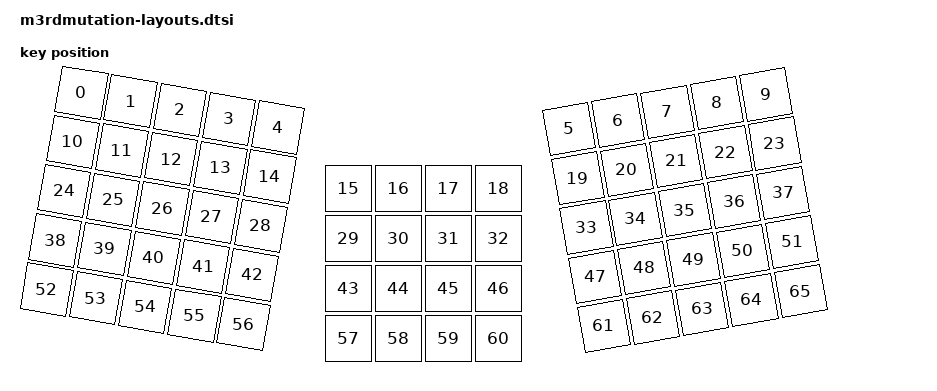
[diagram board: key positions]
#include <physical_layouts.dtsi>

/ {
    physical_layout0: physical_layout_0 {
        compatible = "zmk,physical-layout";
        display-name = "Default";

        kscan = <&kscan0>;
        transform = <&default_transform>;

        keys  //                     w   h    x    y     rot    rx    ry
            = <&key_physical_attrs 100 100    0    0    1000     0     0>
            , <&key_physical_attrs 100 100  100    0    1000     0     0>
            , <&key_physical_attrs 100 100  200    0    1000     0     0>
            , <&key_physical_attrs 100 100  300    0    1000     0     0>
            , <&key_physical_attrs 100 100  400    0    1000     0     0>
            , <&key_physical_attrs 100 100  950    0 (-1000)  1470     0>
            , <&key_physical_attrs 100 100 1050    0 (-1000)  1470     0>
            , <&key_physical_attrs 100 100 1150    0 (-1000)  1470     0>
            , <&key_physical_attrs 100 100 1250    0 (-1000)  1470     0>
            , <&key_physical_attrs 100 100 1350    0 (-1000)  1470     0>
            , <&key_physical_attrs 100 100    0  100    1000     0     0>
            , <&key_physical_attrs 100 100  100  100    1000     0     0>
            , <&key_physical_attrs 100 100  200  100    1000     0     0>
            , <&key_physical_attrs 100 100  300  100    1000     0     0>
            , <&key_physical_attrs 100 100  400  100    1000     0     0>
            , <&key_physical_attrs 100 100  525  200       0     0     0>
            , <&key_physical_attrs 100 100  625  200       0     0     0>
            , <&key_physical_attrs 100 100  725  200       0     0     0>
            , <&key_physical_attrs 100 100  825  200       0     0     0>
            , <&key_physical_attrs 100 100  950  100 (-1000)  1470     0>
            , <&key_physical_attrs 100 100 1050  100 (-1000)  1470     0>
            , <&key_physical_attrs 100 100 1150  100 (-1000)  1470     0>
            , <&key_physical_attrs 100 100 1250  100 (-1000)  1470     0>
            , <&key_physical_attrs 100 100 1350  100 (-1000)  1470     0>
            , <&key_physical_attrs 100 100    0  200    1000     0     0>
            , <&key_physical_attrs 100 100  100  200    1000     0     0>
            , <&key_physical_attrs 100 100  200  200    1000     0     0>
            , <&key_physical_attrs 100 100  300  200    1000     0     0>
            , <&key_physical_attrs 100 100  400  200    1000     0     0>
            , <&key_physical_attrs 100 100  525  300       0     0     0>
            , <&key_physical_attrs 100 100  625  300       0     0     0>
            , <&key_physical_attrs 100 100  725  300       0     0     0>
            , <&key_physical_attrs 100 100  825  300       0     0     0>
            , <&key_physical_attrs 100 100  950  200 (-1000)  1470     0>
            , <&key_physical_attrs 100 100 1050  200 (-1000)  1470     0>
            , <&key_physical_attrs 100 100 1150  200 (-1000)  1470     0>
            , <&key_physical_attrs 100 100 1250  200 (-1000)  1470     0>
            , <&key_physical_attrs 100 100 1350  200 (-1000)  1470     0>
            , <&key_physical_attrs 100 100    0  300    1000     0     0>
            , <&key_physical_attrs 100 100  100  300    1000     0     0>
            , <&key_physical_attrs 100 100  200  300    1000     0     0>
            , <&key_physical_attrs 100 100  300  300    1000     0     0>
            , <&key_physical_attrs 100 100  400  300    1000     0     0>
            , <&key_physical_attrs 100 100  525  400       0     0     0>
            , <&key_physical_attrs 100 100  625  400       0     0     0>
            , <&key_physical_attrs 100 100  725  400       0     0     0>
            , <&key_physical_attrs 100 100  825  400       0     0     0>
            , <&key_physical_attrs 100 100  950  300 (-1000)  1470     0>
            , <&key_physical_attrs 100 100 1050  300 (-1000)  1470     0>
            , <&key_physical_attrs 100 100 1150  300 (-1000)  1470     0>
            , <&key_physical_attrs 100 100 1250  300 (-1000)  1470     0>
            , <&key_physical_attrs 100 100 1350  300 (-1000)  1470     0>
            , <&key_physical_attrs 100 100    0  400    1000     0     0>
            , <&key_physical_attrs 100 100  100  400    1000     0     0>
            , <&key_physical_attrs 100 100  200  400    1000     0     0>
            , <&key_physical_attrs 100 100  300  400    1000     0     0>
            , <&key_physical_attrs 100 100  400  400    1000     0     0>
            , <&key_physical_attrs 100 100  525  500       0     0     0>
            , <&key_physical_attrs 100 100  625  500       0     0     0>
            , <&key_physical_attrs 100 100  725  500       0     0     0>
            , <&key_physical_attrs 100 100  825  500       0     0     0>
            , <&key_physical_attrs 100 100  950  400 (-1000)  1470     0>
            , <&key_physical_attrs 100 100 1050  400 (-1000)  1470     0>
            , <&key_physical_attrs 100 100 1150  400 (-1000)  1470     0>
            , <&key_physical_attrs 100 100 1250  400 (-1000)  1470     0>
            , <&key_physical_attrs 100 100 1350  400 (-1000)  1470     0>
            ;
    };
};
